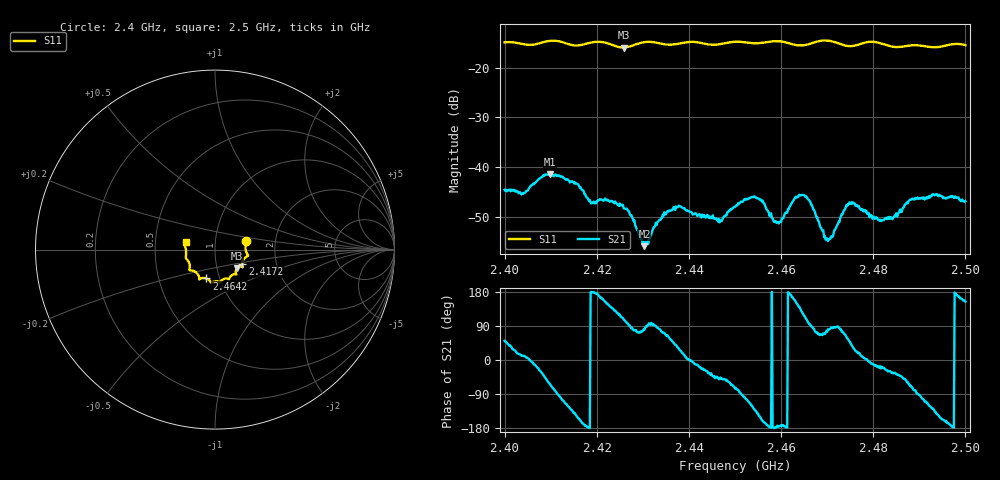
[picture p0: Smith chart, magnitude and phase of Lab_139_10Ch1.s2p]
# Hz S RI R 50
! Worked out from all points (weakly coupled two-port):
!   601 points, 2.4 GHz to 2.5 GHz, reference 50 ohm
!   highest |S21| = -41.49 dB at 2.4098 GHz (marker M1); lowest = -56.0 dB at 2.4303 GHz (marker M2)
!   lowest |S11| = -15.9 dB at 2.4258 GHz (marker M3), VSWR 1.38, Z = 62.3 - j13.3 ohm
!   |S11| at or under -10 dB: start of sweep to end of sweep
!   S12 and S22 are empty: the file has one direction only
!   S11 on the Smith chart (normalised r, x): 2.4 GHz: 1.41, +0.14; 2.4172 GHz: 1.34, -0.22; 2.4642 GHz: 0.86, -0.29; 2.5 GHz: 0.72, +0.06
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2.4e9  0.1735 0.0493  0.00374 0.00454  0 0  0 0
2.404e9  0.1716 0.0252  0.00527 0.000985  0 0  0 0
2.409833e9  0.1836 -0.0319  0.00378 -0.00752  0 0  0 0
2.416667e9  0.1524 -0.075  -0.00572 -0.00171  0 0  0 0
2.417167e9  0.1519 -0.0805  -0.00559 -0.00101  0 0  0 0
2.419167e9  0.1538 -0.0957  -0.00433 9.65e-05  0 0  0 0
2.425833e9  0.1214 -0.1037  -0.00112 0.00367  0 0  0 0
2.430333e9  0.1184 -0.137  0.000283 0.00157  0 0  0 0
2.433333e9  0.1127 -0.1365  0.000306 0.00281  0 0  0 0
2.437667e9  0.084 -0.1529  0.00334 0.00214  0 0  0 0
2.446667e9  0.0421 -0.1677  0.00182 -0.00208  0 0  0 0
2.45e9  0.0295 -0.1806  0.00101 -0.00383  0 0  0 0
2.454667e9  0.00463 -0.1762  -0.00356 -0.00336  0 0  0 0
2.4595e9  -0.0225 -0.184  -0.00268 -0.000273  0 0  0 0
2.464167e9  -0.0482 -0.1608  -0.00368 0.00364  0 0  0 0
2.466667e9  -0.076 -0.1596  0.00012 0.00415  0 0  0 0
2.470167e9  -0.0873 -0.166  0.000284 0.00177  0 0  0 0
2.475e9  -0.1065 -0.1263  0.00293 0.00308  0 0  0 0
2.4815e9  -0.1415 -0.1061  0.00283 -0.000823  0 0  0 0
2.483333e9  -0.1405 -0.0896  0.00262 -0.00149  0 0  0 0
2.488667e9  -0.1619 -0.0479  0.001 -0.00462  0 0  0 0
2.5e9  -0.1638 0.0418  -0.00407 0.00198  0 0  0 0
